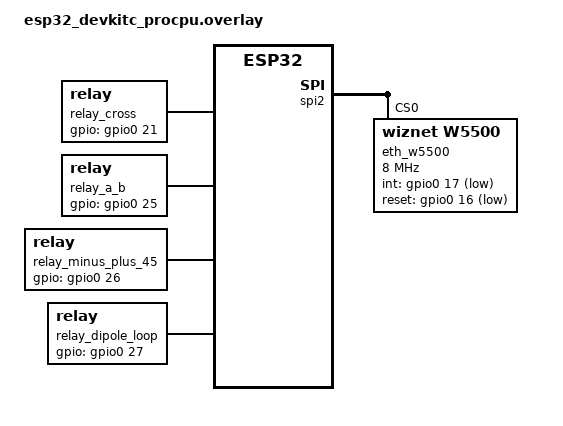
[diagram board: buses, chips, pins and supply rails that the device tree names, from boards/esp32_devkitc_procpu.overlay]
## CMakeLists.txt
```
cmake_minimum_required(VERSION 3.20.0)

find_package(Zephyr)
project(lz1aq_loop_control)

zephyr_linker_sources(SECTIONS sections-rom.ld)
zephyr_linker_section(NAME http_resource_desc_lz1aq_loop_control
                      KVMA RAM_REGION GROUP RODATA_REGION)

set(gen_dir ${ZEPHYR_BINARY_DIR}/include/generated/)

foreach(web_resource
    index.html
    main.js
    bootstrap.min.css
)
    generate_inc_file_for_target(app
        src/www/${web_resource}
        ${gen_dir}/${web_resource}.gz.inc
        --gzip
    )
endforeach()

target_sources(app PRIVATE src/main.c src/ws.c)

target_link_libraries(app PRIVATE zephyr_interface zephyr)
```

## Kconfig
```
# Copyright 2025 NXP
# SPDX-License-Identifier: Apache-2.0

mainmenu "LZ1AQ Loop Controller"

config NET_SAMPLE_NUM_WEBSOCKET_HANDLERS
	int "How many websocket connections to serve at the same time"
	default 3
	help
	  Each websocket connection is served by a thread which needs
	  memory. Only increase the value here if really needed.

config USE_WIFI
	bool "Use WiFi"
	default n
	help
	  Enable the use of Wifi

if USE_WIFI

config WIFI_SAMPLE_SSID
	string "SSID of the target AP"
	help
	  SSID of the access point to connect to in station mode.
	  For example: "TARGET-AP"

config WIFI_SAMPLE_PSK
	string "Pre-shared key for target AP"
	help
	  WPA2 password used to connect to the target AP.
	  For example: "PSK"
endif # USE_WIFI

source "Kconfig.zephyr"
```

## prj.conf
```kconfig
CONFIG_NETWORKING=y
CONFIG_NET_HOSTNAME_ENABLE=y
CONFIG_NET_HOSTNAME="loop-control"
CONFIG_HTTP_SERVER=y
CONFIG_GPIO=y
CONFIG_POSIX_API=y
CONFIG_INIT_STACKS=y

# Network buffers
CONFIG_NET_PKT_RX_COUNT=16
CONFIG_NET_PKT_TX_COUNT=16
CONFIG_NET_BUF_RX_COUNT=128
CONFIG_NET_BUF_TX_COUNT=128
CONFIG_NET_CONTEXT_NET_PKT_POOL=y

CONFIG_NET_DHCPV4=y
CONFIG_NET_IPV4=y
CONFIG_NET_IPV6=n
CONFIG_NET_TCP=y
CONFIG_NET_LOG=y
CONFIG_NET_SOCKETS=y
CONFIG_NET_MAX_CONTEXTS=32
CONFIG_NET_MAX_CONN=32

CONFIG_WIFI=y
CONFIG_NET_IF_MAX_IPV4_COUNT=2
CONFIG_NET_DHCPV4_OPTION_CALLBACKS=y

# Network debug config
CONFIG_NET_SOCKETS_LOG_LEVEL_DBG=y
CONFIG_NET_HTTP_LOG_LEVEL_DBG=y


# CONFIG_NET_SAMPLE_NUM_WEBSOCKET_HANDLERS=5
```

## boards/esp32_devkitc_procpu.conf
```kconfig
CONFIG_SPI=y
CONFIG_ETH_DRIVER=y
CONFIG_ETH_W5500=y
#CONFIG_ETH_W5500_TIMEOUT=1000
CONFIG_NET_L2_ETHERNET=y
```

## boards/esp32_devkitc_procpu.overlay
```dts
&spi2 {
    status = "okay";
    eth_w5500: eth_w5500@0 {
        compatible = "wiznet,w5500";
        status = "okay";
        reg = <0x0>;
        spi-max-frequency = <8000000>;
        int-gpios = <&gpio0 17 GPIO_ACTIVE_LOW>;
        reset-gpios = <&gpio0 16 GPIO_ACTIVE_LOW>;
        /* *************************** */
        /* Write here your MAC address */
        /* *************************** */
        local-mac-address = [00 08 DC 01 02 03];
    };
};

/ {
    relay_cross: relay_cross {
        compatible = "relay";
        gpios = <&gpio0 21 GPIO_ACTIVE_HIGH>;
    };

    relay_a_b: relay_a_b {
        compatible = "relay";
        gpios = <&gpio0 25 GPIO_ACTIVE_HIGH>;
    };

    relay_minus_plus_45: relay_minus_plus_45 {
        compatible = "relay";
        gpios = <&gpio0 26 GPIO_ACTIVE_HIGH>;
    };

    relay_dipole_loop: relay_dipole_loop {
        compatible = "relay";
        gpios = <&gpio0 27 GPIO_ACTIVE_HIGH>;
    };
};
```

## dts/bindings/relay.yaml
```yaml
# Copyright (c) 2023 Libre Solar Technologies GmbH
# SPDX-License-Identifier: Apache-2.0

description: GPIO pin to switch a relay

compatible: "relay"

properties:
  gpios:
    type: phandle-array
    required: true
    description: |
      The GPIO connected to the input of a relay
```

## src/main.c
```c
#include <zephyr/kernel.h>
#include <zephyr/logging/log.h>
#include <zephyr/net/http/service.h>

#include <zephyr/kernel.h>
#include <zephyr/linker/sections.h>
#include <errno.h>
#include <stdio.h>

#include <zephyr/net/net_if.h>
#include <zephyr/net/net_core.h>
#include <zephyr/net/net_context.h>
#include <zephyr/net/net_mgmt.h>
#include <zephyr/devicetree.h>
#include <zephyr/drivers/gpio.h>

LOG_MODULE_REGISTER(MAIN);

#if !DT_NODE_EXISTS(DT_NODELABEL(relay_cross))
#error "Overlay for relay_cross not properly defined."
#endif

#if !DT_NODE_EXISTS(DT_NODELABEL(relay_dipole_loop))
#error "Overlay for relay_dipole_loop not properly defined."
#endif

#if !DT_NODE_EXISTS(DT_NODELABEL(relay_a_b))
#error "Overlay for relay_a_b not properly defined."
#endif

#if !DT_NODE_EXISTS(DT_NODELABEL(relay_minus_plus_45))
#error "Overlay for relay_minus_plus_45 not properly defined."
#endif


static const struct gpio_dt_spec relay_cross =
    GPIO_DT_SPEC_GET_OR(DT_NODELABEL(relay_cross), gpios, {0});

static const struct gpio_dt_spec relay_dipole_loop = 
    GPIO_DT_SPEC_GET_OR(DT_NODELABEL(relay_dipole_loop), gpios, {0});

static const struct gpio_dt_spec relay_a_b = 
    GPIO_DT_SPEC_GET_OR(DT_NODELABEL(relay_a_b), gpios, {0});

static const struct gpio_dt_spec relay_minus_plus_45 = 
    GPIO_DT_SPEC_GET_OR(DT_NODELABEL(relay_minus_plus_45), gpios, {0});

static uint16_t http_service_port = 80;

HTTP_SERVICE_DEFINE(lz1aq_loop_control, "0.0.0.0", &http_service_port, 1, 10, NULL, NULL, NULL);

static const uint8_t index_html_gz[] = {
    #include "index.html.gz.inc"
};

struct http_resource_detail_static index_html_gz_resource_detail = {
    .common = {
        .type = HTTP_RESOURCE_TYPE_STATIC,
        .bitmask_of_supported_http_methods = BIT(HTTP_GET),
        .content_encoding = "gzip",
        .content_type = "text/html"
    },
    .static_data = index_html_gz,
    .static_data_len = sizeof(index_html_gz),
};

HTTP_RESOURCE_DEFINE(index_html_gz_resource, lz1aq_loop_control, "/",
                     &index_html_gz_resource_detail);

static const uint8_t main_js_gz[] = {
    #include "main.js.gz.inc"
};

struct http_resource_detail_static main_js_gz_resource_detail = {
    .common = {
        .type = HTTP_RESOURCE_TYPE_STATIC,
        .bitmask_of_supported_http_methods = BIT(HTTP_GET),
        .content_encoding = "gzip",
        .content_type = "text/javascript",
    },
    .static_data = main_js_gz,
    .static_data_len = sizeof(main_js_gz),
};

HTTP_RESOURCE_DEFINE(main_js_gz_resource, lz1aq_loop_control, "/main.js",
                     &main_js_gz_resource_detail);

static const uint8_t bootstrap_min_css_gz[] = {
    #include "bootstrap.min.css.gz.inc"
};

struct http_resource_detail_static bootstrap_min_css_gz_resource_detail = {
    .common = {
        .type = HTTP_RESOURCE_TYPE_STATIC,
        .bitmask_of_supported_http_methods = BIT(HTTP_GET),
        .content_encoding = "gzip",
        .content_type = "text/css",
    },
    .static_data = bootstrap_min_css_gz,
    .static_data_len = sizeof(bootstrap_min_css_gz),
};

HTTP_RESOURCE_DEFINE(bootstrap_min_css_resource, lz1aq_loop_control, "/bootstrap.min.css",
                     &bootstrap_min_css_gz_resource_detail);


static int loop_a_handler(struct http_client_ctx *client, enum http_transaction_status status,
			  const struct http_request_ctx *request_ctx,
			  struct http_response_ctx *response_ctx, void *user_data)
{
	gpio_pin_set_dt(&relay_dipole_loop, 1);
  	gpio_pin_set_dt(&relay_a_b, 0);
	gpio_pin_set_dt(&relay_cross, 0);
	return 0;
}

struct http_resource_detail_dynamic loop_a_handler_resource_detail = {
    .common = {
        .type = HTTP_RESOURCE_TYPE_DYNAMIC,
        .bitmask_of_supported_http_methods =
            BIT(HTTP_GET),
    },
    .cb = loop_a_handler,
    .user_data = NULL,
};

HTTP_RESOURCE_DEFINE(loop_a_handler_resource, lz1aq_loop_control, "/direction/loop_a", &loop_a_handler_resource_detail);

static int loop_b_handler(struct http_client_ctx *client, enum http_transaction_status status,
			  const struct http_request_ctx *request_ctx,
			  struct http_response_ctx *response_ctx, void *user_data)
{
	gpio_pin_set_dt(&relay_dipole_loop, 1);
  	gpio_pin_set_dt(&relay_a_b, 1);
	gpio_pin_set_dt(&relay_cross, 0);
	return 0;
}

struct http_resource_detail_dynamic loop_b_handler_resource_detail = {
    .common = {
        .type = HTTP_RESOURCE_TYPE_DYNAMIC,
        .bitmask_of_supported_http_methods =
            BIT(HTTP_GET),
    },
    .cb = loop_b_handler,
    .user_data = NULL,
};

HTTP_RESOURCE_DEFINE(loop_b_handler_resource, lz1aq_loop_control, "/direction/loop_b", &loop_b_handler_resource_detail);

static int loop_min_45_handler(struct http_client_ctx *client, enum http_transaction_status status,
			  const struct http_request_ctx *request_ctx,
			  struct http_response_ctx *response_ctx, void *user_data)
{
	gpio_pin_set_dt(&relay_dipole_loop, 1);
	gpio_pin_set_dt(&relay_cross, 1);
    	gpio_pin_set_dt(&relay_minus_plus_45, 0);
	return 0;
}

struct http_resource_detail_dynamic min_45_handler_resource_detail = {
    .common = {
        .type = HTTP_RESOURCE_TYPE_DYNAMIC,
        .bitmask_of_supported_http_methods =
            BIT(HTTP_GET),
    },
    .cb = loop_min_45_handler,
    .user_data = NULL,
};

HTTP_RESOURCE_DEFINE(min_45_handler_resource, lz1aq_loop_control, "/direction/min_45", &min_45_handler_resource_detail);

static int loop_plus_45_handler(struct http_client_ctx *client, enum http_transaction_status status,
			  const struct http_request_ctx *request_ctx,
			  struct http_response_ctx *response_ctx, void *user_data)
{
	gpio_pin_set_dt(&relay_dipole_loop, 1);
	gpio_pin_set_dt(&relay_cross, 1);
    	gpio_pin_set_dt(&relay_minus_plus_45, 1);
	return 0;
}

struct http_resource_detail_dynamic plus_45_handler_resource_detail = {
    .common = {
        .type = HTTP_RESOURCE_TYPE_DYNAMIC,
        .bitmask_of_supported_http_methods =
            BIT(HTTP_GET),
    },
    .cb = loop_plus_45_handler,
    .user_data = NULL,
};

HTTP_RESOURCE_DEFINE(plus_45_handler_resource, lz1aq_loop_control, "/direction/plus_45", &plus_45_handler_resource_detail);

static int vertical_handler(struct http_client_ctx *client, enum http_transaction_status status,
			  const struct http_request_ctx *request_ctx,
			  struct http_response_ctx *response_ctx, void *user_data)
{
	gpio_pin_set_dt(&relay_dipole_loop, 0);
	gpio_pin_set_dt(&relay_cross, 0);
    	gpio_pin_set_dt(&relay_minus_plus_45, 0);
  	gpio_pin_set_dt(&relay_a_b, 0);
	return 0;
}

struct http_resource_detail_dynamic vertical_handler_resource_detail = {
    .common = {
        .type = HTTP_RESOURCE_TYPE_DYNAMIC,
        .bitmask_of_supported_http_methods =
            BIT(HTTP_GET),
    },
    .cb = vertical_handler,
    .user_data = NULL,
};

HTTP_RESOURCE_DEFINE(vertical_handler_resource, lz1aq_loop_control, "/direction/vertical", &vertical_handler_resource_detail);

enum loop_mode {
    MODE_NONE = 0,
    MODE_LOOP_A,
    MODE_LOOP_B,
    MODE_CROSSED,
    MODE_VERTICAL,
};

/* --- Helpers to convert to/from strings --- */
static const char* mode_to_cmd(enum loop_mode m)
{
    switch (m) {
        case MODE_LOOP_A:   return "loop_a";
        case MODE_LOOP_B:   return "loop_a";
        case MODE_CROSSED:  return "crossed";
        case MODE_VERTICAL: return "vertical";
        default:            return "";
    }
}

static enum loop_mode cmd_to_mode(const char *s)
{
    if (strcmp(s, "loop_a") == 0) return MODE_LOOP_A;
    if (strcmp(s, "loop_b") == 0) return MODE_LOOP_B;
    if (strcmp(s, "crossed") == 0) return MODE_CROSSED;
    if (strcmp(s, "vertical") == 0) return MODE_VERTICAL;
    return MODE_NONE;
}

#define DHCP_OPTION_NTP (42)

static uint8_t ntp_server[4];

static struct net_mgmt_event_callback mgmt_cb;

static struct net_dhcpv4_option_callback dhcp_cb;

static void start_dhcpv4_client(struct net_if *iface, void *user_data)
{
    ARG_UNUSED(user_data);

    LOG_INF("Start on %s: index=%d", net_if_get_device(iface)->name,
        net_if_get_by_iface(iface));
    net_dhcpv4_start(iface);
}

static void handler(struct net_mgmt_event_callback *cb,
		    uint64_t mgmt_event,
		    struct net_if *iface)
{
    int i = 0;

    if (mgmt_event != NET_EVENT_IPV4_ADDR_ADD) {
        return;
    }

    for (i = 0; i < NET_IF_MAX_IPV4_ADDR; i++) {
        char buf[NET_IPV4_ADDR_LEN];

        if (iface->config.ip.ipv4->unicast[i].ipv4.addr_type !=
                            NET_ADDR_DHCP) {
            continue;
        }

        LOG_INF("   Address[%d]: %s", net_if_get_by_iface(iface),
            net_addr_ntop(NET_AF_INET,
                &iface->config.ip.ipv4->unicast[i].ipv4.address.in_addr,
                            buf, sizeof(buf)));
        LOG_INF("    Subnet[%d]: %s", net_if_get_by_iface(iface),
            net_addr_ntop(NET_AF_INET,
                        &iface->config.ip.ipv4->unicast[i].netmask,
                        buf, sizeof(buf)));
        LOG_INF("    Router[%d]: %s", net_if_get_by_iface(iface),
            net_addr_ntop(NET_AF_INET,
                            &iface->config.ip.ipv4->gw,
                            buf, sizeof(buf)));
        LOG_INF("Lease time[%d]: %u seconds", net_if_get_by_iface(iface),
            iface->config.dhcpv4.lease_time);
	}
}

static void option_handler(struct net_dhcpv4_option_callback *cb,
        size_t length,
        enum net_dhcpv4_msg_type msg_type,
        struct net_if *iface)
{
    char buf[NET_IPV4_ADDR_LEN];

    LOG_INF("DHCP Option %d: %s", cb->option,
        net_addr_ntop(NET_AF_INET, cb->data, buf, sizeof(buf)));
}

#define NET_EVENT_WIFI_MASK (NET_EVENT_WIFI_CONNECT_RESULT | NET_EVENT_WIFI_DISCONNECT_RESULT)

int main()
{
    LOG_INF("Startup LZ1AQ Loop Control");

    net_mgmt_init_event_callback(&mgmt_cb, handler, NET_EVENT_IPV4_ADDR_ADD);
    net_mgmt_add_event_callback(&mgmt_cb);

    net_dhcpv4_init_option_callback(&dhcp_cb, option_handler, DHCP_OPTION_NTP, ntp_server,
        sizeof(ntp_server));

    net_dhcpv4_add_option_callback(&dhcp_cb);

    net_if_foreach(start_dhcpv4_client, NULL);

    if (!gpio_is_ready_dt(&relay_cross)) {
        LOG_INF("The relay_cross switch pin GPIO port is not ready");
        return 0;
    }

    if(!gpio_is_ready_dt(&relay_dipole_loop)) {
        LOG_INF("The relay_dipole_loop switch pin GPIO port is not ready");
        return 0;
    }

    if(!gpio_is_ready_dt(&relay_a_b)) {
        LOG_INF("The relay_a_b switch pin GPIO port is not ready");
        return 0;
    }

    if(!gpio_is_ready_dt(&relay_minus_plus_45)) {
        LOG_INF("The relay_minus_plus_45 switch pin GPIO port is not ready");
        return 0;
    }

    gpio_pin_configure_dt(&relay_cross, GPIO_OUTPUT_INACTIVE);
    gpio_pin_configure_dt(&relay_dipole_loop, GPIO_OUTPUT_INACTIVE);
    gpio_pin_configure_dt(&relay_a_b, GPIO_OUTPUT_INACTIVE);
    gpio_pin_configure_dt(&relay_minus_plus_45, GPIO_OUTPUT_INACTIVE);

    http_server_start();

    // LOG_INF("Turning on relays");

    // k_sleep(K_MSEC(2000));

    // gpio_pin_set_dt(&relay_cross, 1);

    // k_sleep(K_MSEC(2000));

    // gpio_pin_set_dt(&relay_a_b, 1);

    // k_sleep(K_MSEC(2000));

    // gpio_pin_set_dt(&relay_minus_plus_45, 1);

    // k_sleep(K_MSEC(2000));

    // gpio_pin_set_dt(&relay_dipole_loop, 1);

    // LOG_INF("Sleep 5 seconds");

    // k_sleep(K_MSEC(5000));

    // LOG_INF("Turning off relays");

    // gpio_pin_set_dt(&relay_dipole_loop, 0);
    // gpio_pin_set_dt(&relay_cross, 0);
    // gpio_pin_set_dt(&relay_a_b, 0);
    // gpio_pin_set_dt(&relay_minus_plus_45, 0);

    // LOG_INF("Turned of relays");

    return 0;
}
```

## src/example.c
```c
/*
 * Minimal WebSocket server that consumes text commands from the browser
 * and returns authoritative state as JSON.
 */
#include <zephyr/kernel.h>
#include <zephyr/logging/log.h>
LOG_MODULE_REGISTER(loop_ws, LOG_LEVEL_INF);

#include <zephyr/net/socket.h>
#include <zephyr/net/websocket.h>
#include <zephyr/net/http/service.h>
#include <zephyr/net/http/server.h>
#include <string.h>
#include <stdio.h>
#include <stdlib.h>
#include <ctype.h>

/* --- Service definition (listen on 0.0.0.0:80) --- */
static uint16_t http_service_port = 80;
/* name "my_service" must match the linker section we added in sections-rom.ld */
HTTP_SERVICE_DEFINE(my_service, "0.0.0.0", &http_service_port,
                    /* max IPv4 + IPv6 listeners */ 1,
                    /* max accepted clients per listener */ 10,
                    /* no per-service fallback resource */ NULL,
                    /* no per-service config */ NULL,
                    /* default socket create/config */ NULL);

/* --- Application state --- */

enum loop_mode {
    MODE_NONE = 0,
    MODE_LOOP_A,
    MODE_LOOP_B,
    MODE_CROSSED,
    MODE_VERTICAL,
};

struct app_state {
    enum loop_mode mode;    /* one of A/B/CROSSED/VERTICAL */
    int angle;              /* 0, -45, or +45 */
};

static struct app_state g_state = {
    .mode = MODE_LOOP_A,
    .angle = 0,
};

/* --- Connected clients (very small fixed-size list for demo) --- */

#define MAX_CLIENTS 4
static int g_clients[MAX_CLIENTS] = { -1, -1, -1, -1 };
static struct k_mutex g_clients_lock;

static void clients_add(int ws)
{
    k_mutex_lock(&g_clients_lock, K_FOREVER);
    for (int i = 0; i < MAX_CLIENTS; i++) {
        if (g_clients[i] < 0) { g_clients[i] = ws; break; }
    }
    k_mutex_unlock(&g_clients_lock);
}

static void clients_remove(int ws)
{
    k_mutex_lock(&g_clients_lock, K_FOREVER);
    for (int i = 0; i < MAX_CLIENTS; i++) {
        if (g_clients[i] == ws) { g_clients[i] = -1; break; }
    }
    k_mutex_unlock(&g_clients_lock);
}

/* --- Helpers to convert to/from strings --- */

static const char* mode_to_cmd(enum loop_mode m)
{
    switch (m) {
    case MODE_LOOP_A:   return "LoopA";
    case MODE_LOOP_B:   return "LoopB";
    case MODE_CROSSED:  return "Crossed";
    case MODE_VERTICAL: return "Vertical";
    default:            return "";
    }
}

static enum loop_mode cmd_to_mode(const char *s)
{
    if (strcmp(s, "LoopA") == 0) return MODE_LOOP_A;
    if (strcmp(s, "LoopB") == 0) return MODE_LOOP_B;
    if (strcmp(s, "Crossed") == 0) return MODE_CROSSED;
    if (strcmp(s, "Vertical") == 0) return MODE_VERTICAL;
    return MODE_NONE;
}

/* --- JSON state builder --- */
/* Example: {"type":"state","active":["LoopA","+45"]} */
static int build_state_json(char *out, size_t out_sz)
{
    const char *mode_str = mode_to_cmd(g_state.mode);
    char angle_buf[5] = {0};
    if (g_state.angle > 0) {
        strcpy(angle_buf, "+45");
    } else if (g_state.angle < 0) {
        strcpy(angle_buf, "-45");
    } else {
        angle_buf[0] = '\0';
    }

    if (angle_buf[0]) {
        return snprintk(out, out_sz,
            "{ \"type\":\"state\", \"active\":[\"%s\",\"%s\"] }",
            mode_str, angle_buf);
    } else {
        return snprintk(out, out_sz,
            "{ \"type\":\"state\", \"active\":[\"%s\"] }", mode_str);
    }
}

/* --- State update + broadcast --- */

static void broadcast_state(void)
{
    char json[128];
    int len = build_state_json(json, sizeof(json));
    if (len <= 0) return;

    /* Server frames: opcode TEXT; server must NOT mask (mask=false). */
    k_mutex_lock(&g_clients_lock, K_FOREVER);
    for (int i = 0; i < MAX_CLIENTS; i++) {
        int ws = g_clients[i];
        if (ws < 0) continue;
        int ret = websocket_send_msg(ws, (const uint8_t *)json, len,
                                     WEBSOCKET_OPCODE_DATA_TEXT,
                                     false /*mask*/, true /*final*/, K_NO_WAIT);
        if (ret < 0) {
            LOG_WRN("send state to ws=%d failed (%d)", ws, ret);
        }
    }
    k_mutex_unlock(&g_clients_lock);
}

/* Apply a single command from the browser */
static void apply_command(const char *cmd)
{
    /* Trim whitespace */
    while (isspace((unsigned char)*cmd)) cmd++;

    if (!*cmd) return;

    if (strcmp(cmd, "+45") == 0) {
        g_state.angle = +45;
    } else if (strcmp(cmd, "-45") == 0) {
        g_state.angle = -45;
    } else {
        enum loop_mode m = cmd_to_mode(cmd);
        if (m != MODE_NONE) {
            g_state.mode = m;
        } else if (strcmp(cmd, "0") == 0 || strcmp(cmd, "Reset") == 0) {
            g_state.angle = 0;
        } else {
            LOG_WRN("Unknown command: '%s'", cmd);
            return;
        }
    }

    /* After every accepted command, broadcast full state */
    broadcast_state();
}

/* --- Per-connection handler (runs in the HTTP server's callback context).
 * For production, you can spawn a dedicated thread per connection if desired.
 */

#define WS_TEMP_BUF 512

static int ws_handler_loop(int ws)
{
    uint8_t buf[WS_TEMP_BUF];

    for (;;) {
        uint32_t msg_type = 0;
        uint64_t remaining = 0;

        /* Receive one fragment (or full message if small); blocks */
        int rc = websocket_recv_msg(ws, buf, sizeof(buf) - 1,
                                    &msg_type, &remaining, K_FOREVER);
        if (rc <= 0) {
            LOG_INF("ws=%d closed or error (%d)", ws, rc);
            return rc;
        }

        /* TEXT frames carry our commands; CLOSE ends connection */
        if (msg_type & WEBSOCKET_FLAG_CLOSE) {
            LOG_INF("ws=%d close frame", ws);
            return 0;
        }

        if (msg_type & WEBSOCKET_FLAG_TEXT) {
            buf[rc] = '\0';
            apply_command((const char *)buf);

            /* Drain any continuation frames of this message (we do not expect
             * fragmentation from the browser for these small commands, but be
             * robust anyway).
             */
            while (remaining > 0) {
                int rd = websocket_recv_msg(ws, buf, MIN(remaining, sizeof(buf)),
                                            &msg_type, &remaining, K_FOREVER);
                if (rd <= 0) break;
            }
        }
    }
}

/* --- WebSocket resource callback: called when HTTP upgrade happens --- */

static uint8_t ws_recv_buffer[1024];  /* scratch buffer used by the server */

static int ws_setup(int sock, struct http_request_ctx *request_ctx, void *user_data)
{
    ARG_UNUSED(request_ctx);
    ARG_UNUSED(user_data);

    /* Register the just-upgraded TCP socket as a WebSocket so we can use
     * websocket_* helpers to recv/send frames.
     */
    int ws = websocket_register(sock, ws_recv_buffer, sizeof(ws_recv_buffer));
    if (ws < 0) {
        LOG_ERR("websocket_register failed: %d", ws);
        zsock_close(sock);
        return ws;
    }

    LOG_INF("WebSocket connected (fd=%d)", ws);
    clients_add(ws);

    /* Send initial state immediately after connect */
    broadcast_state();

    /* Run the receive loop (blocking). Return when client disconnects. */
    int rc = ws_handler_loop(ws);

    clients_remove(ws);
    (void)websocket_unregister(ws);
    (void)zsock_close(ws);
    LOG_INF("WebSocket disconnected (fd=%d, rc=%d)", ws, rc);
    return rc;
}

/* Declare the WS resource at path "/ws" under our service */
static struct http_resource_detail_websocket ws_resource_detail = {
    .common = {
        .type = HTTP_RESOURCE_TYPE_WEBSOCKET,
        /* Upgrade starts from HTTP GET */
        .bitmask_of_supported_http_methods = BIT(HTTP_GET),
    },
    .cb = ws_setup,
    .data_buffer = ws_recv_buffer,
    .data_buffer_len = sizeof(ws_recv_buffer),
    .user_data = NULL,
};

/* Make it visible to the HTTP server */
HTTP_RESOURCE_DEFINE(ws_resource, my_service, "/ws", &ws_resource_detail);

/* --- App entry --- */
void main(void)
{
    k_mutex_init(&g_clients_lock);
    LOG_INF("Loop WebSocket server ready at ws://<device-ip>/ws");
}
```

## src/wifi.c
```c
#include "wifi.h"
#include <zephyr/net/wifi_mgmt.h>
#include <zephyr/logging/log.h>
#include <zephyr/kernel.h>

LOG_MODULE_REGISTER(wifi);

static struct net_if *wifi_interface;
static struct wifi_connect_req_params config;

void connect_wifi()
{
    if (!wifi_interface) {
        LOG_INF("STA: interface no initialized");
        return;
    }

    config.ssid = (const uint8_t *)CONFIG_WIFI_SAMPLE_SSID;
    config.ssid_length = sizeof(CONFIG_WIFI_SAMPLE_SSID) - 1;
    config.psk = (const uint8_t *)CONFIG_WIFI_SAMPLE_PSK;
    config.psk_length = sizeof(CONFIG_WIFI_SAMPLE_PSK) - 1;
    config.security = WIFI_SECURITY_TYPE_PSK;
    config.channel = WIFI_CHANNEL_ANY;
    config.band = WIFI_FREQ_BAND_2_4_GHZ;

    LOG_INF("Connecting to SSID: %s\n", config.ssid);

    int ret = net_mgmt(NET_REQUEST_WIFI_CONNECT, wifi_interface, &config,
                sizeof(struct wifi_connect_req_params));
    if (ret) {
        LOG_ERR("Unable to Connect to (%s)", CONFIG_WIFI_SAMPLE_SSID);
    }
}

//BUILD_ASSERT(sizeof(CONFIG_WIFI_SAMPLE_SSID) > 1,
//	     "CONFIG_WIFI_SAMPLE_SSID is empty. Please set it in conf file.");
	     
/*static void wifi_event_handler(struct net_mgmt_event_callback *cb, uint64_t mgmt_event,
			       struct net_if *iface)
{
	switch (mgmt_event) {
	case NET_EVENT_WIFI_CONNECT_RESULT: {
		LOG_INF("Connected to %s", CONFIG_WIFI_SAMPLE_SSID);
		break;
	}
	case NET_EVENT_WIFI_DISCONNECT_RESULT: {
		LOG_INF("Disconnected from %s", CONFIG_WIFI_SAMPLE_SSID);
		break;
	}
	default:
		break;
	}
}*/

//net_mgmt_init_event_callback(&cb, wifi_event_handler, NET_EVENT_WIFI_MASK);
//net_mgmt_add_event_callback(&cb);

//net_mgmt_init_event_callback(&iface_callback, callback_handler,
//                             EVENT_IFACE_SET);
//net_mgmt_init_event_callback(&ipv4_callback, callback_handler,
//                             EVENT_IPV4_SET);
//net_mgmt_add_event_callback(&iface_callback);
//net_mgmt_add_event_callback(&ipv4_callback);

/* Get STA interface */
//sta_iface = net_if_get_wifi_sta();

// connect_wifi();
```

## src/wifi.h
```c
#ifndef _wifi_h
#define _wifi_h

void connect_wifi();

#endif
```

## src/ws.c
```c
/*
 * Copyright (c) 2024, Nordic Semiconductor
 *
 * SPDX-License-Identifier: Apache-2.0
 */

#include <stdio.h>

#include <zephyr/posix/sys/socket.h>
#include <zephyr/posix/poll.h>

#include <zephyr/kernel.h>
#include <zephyr/net/tls_credentials.h>
#include <zephyr/net/http/server.h>
#include <zephyr/net/http/service.h>
#include <zephyr/net/net_ip.h>
#include <zephyr/net/socket.h>
#include <zephyr/net/websocket.h>
#include <zephyr/net/net_mgmt.h>
#include <zephyr/net/net_stats.h>
#include <zephyr/init.h>

#include <zephyr/logging/log.h>
// LOG_MODULE_DECLARE(net_http_server_sample, LOG_LEVEL_DBG);

LOG_MODULE_REGISTER(ws, LOG_LEVEL_DBG);

#if defined(CONFIG_NET_SOCKETS_SOCKOPT_TLS) || defined(CONFIG_COVERAGE_GCOV)
#define STACK_SIZE 4096
#else
#define STACK_SIZE 2048
#endif

#if defined(CONFIG_NET_TC_THREAD_COOPERATIVE)
#define THREAD_PRIORITY K_PRIO_COOP(CONFIG_NUM_COOP_PRIORITIES - 1)
#else
#define THREAD_PRIORITY K_PRIO_PREEMPT(8)
#endif

#if defined(CONFIG_USERSPACE)
#include <zephyr/app_memory/app_memdomain.h>
extern struct k_mem_partition app_partition;
extern struct k_mem_domain app_domain;
#define APP_BMEM K_APP_BMEM(app_partition)
#define APP_DMEM K_APP_DMEM(app_partition)
#else
#define APP_BMEM
#define APP_DMEM
#endif

#define MAX_CLIENT_QUEUE CONFIG_NET_SAMPLE_NUM_WEBSOCKET_HANDLERS
#define RECV_BUFFER_SIZE 1280


K_THREAD_STACK_ARRAY_DEFINE(ws_handler_stack,
			    CONFIG_NET_SAMPLE_NUM_WEBSOCKET_HANDLERS,
			    STACK_SIZE);
static struct k_thread ws_handler_thread[CONFIG_NET_SAMPLE_NUM_WEBSOCKET_HANDLERS];
static APP_BMEM bool ws_handler_in_use[CONFIG_NET_SAMPLE_NUM_WEBSOCKET_HANDLERS];

static struct data {
	int sock;
	uint32_t counter;
	uint32_t bytes_received;
	struct pollfd fds[1];
	char recv_buffer[RECV_BUFFER_SIZE];
} config[CONFIG_NET_SAMPLE_NUM_WEBSOCKET_HANDLERS] = {
	[0 ... (CONFIG_NET_SAMPLE_NUM_WEBSOCKET_HANDLERS - 1)] = {
		.sock = -1,
		.fds[0].fd = -1,
	}
};

static int get_free_echo_slot(struct data *cfg)
{
	for (int i = 0; i < CONFIG_NET_SAMPLE_NUM_WEBSOCKET_HANDLERS; i++) {
		if (cfg[i].sock < 0) {
			return i;
		}
	}

	return -1;
}

static ssize_t sendall(int sock, const void *buf, size_t len)
{
	while (len) {
		ssize_t out_len = send(sock, buf, len, 0);

		if (out_len < 0) {
			return out_len;
		}
		buf = (const char *)buf + out_len;
		len -= out_len;
	}

	return 0;
}

static void ws_echo_handler(void *ptr1, void *ptr2, void *ptr3)
{
	int slot = POINTER_TO_INT(ptr1);
	struct data *cfg = ptr2;
	bool *in_use = ptr3;
	int offset = 0;
	int received;
	int client;
	int ret;

	client = cfg->sock;

	cfg->fds[0].fd = client;
	cfg->fds[0].events = POLLIN;

	/* In this example, we start to receive data from the websocket
	 * and send it back to the client. Note that we could either use
	 * the BSD socket interface if we do not care about Websocket
	 * specific packets, or we could use the websocket_{send/recv}_msg()
	 * function to send websocket specific data.
	 */
	while (true) {
		if (poll(cfg->fds, 1, -1) < 0) {
			LOG_ERR("Error in poll:%d", errno);
			continue;
		}

		if (cfg->fds[0].fd < 0) {
			continue;
		}

		if (cfg->fds[0].revents & POLLHUP) {
			LOG_DBG("Client #%d has disconnected", client);
			break;
		}

		received = recv(client,
				cfg->recv_buffer + offset,
				sizeof(cfg->recv_buffer) - offset,
				0);

		if (received == 0) {
			/* Connection closed */
			LOG_INF("[%d] Connection closed", slot);
			break;
		} else if (received < 0) {
			/* Socket error */
			LOG_ERR("[%d] Connection error %d", slot, errno);
			break;
		}

		cfg->bytes_received += received;
		offset += received;

#if !defined(CONFIG_NET_SOCKETS_SOCKOPT_TLS)
		/* To prevent fragmentation of the response, reply only if
		 * buffer is full or there is no more data to read
		 */
		if (offset == sizeof(cfg->recv_buffer) ||
		    (recv(client, cfg->recv_buffer + offset,
			  sizeof(cfg->recv_buffer) - offset,
			  MSG_PEEK | MSG_DONTWAIT) < 0 &&
		     (errno == EAGAIN || errno == EWOULDBLOCK))) {
#endif
			ret = sendall(client, cfg->recv_buffer, offset);
			if (ret < 0) {
				LOG_ERR("[%d] Failed to send data, closing socket",
					slot);
				break;
			}

			LOG_DBG("[%d] Received and replied with %d bytes",
				slot, offset);

			if (++cfg->counter % 1000 == 0U) {
				LOG_INF("[%d] Sent %u packets", slot, cfg->counter);
			}

			offset = 0;
#if !defined(CONFIG_NET_SOCKETS_SOCKOPT_TLS)
		}
#endif
	}

	*in_use = false;

	(void)websocket_unregister(client);

	cfg->sock = -1;
}

int ws_echo_setup(int ws_socket, struct http_request_ctx *request_ctx, void *user_data)
{
	int slot;

	slot = get_free_echo_slot(config);
	if (slot < 0) {
		LOG_ERR("Cannot accept more connections");
		/* The caller will close the connection in this case */
		return -ENOENT;
	}

	config[slot].sock = ws_socket;

	LOG_INF("[%d] Accepted a Websocket connection", slot);

	k_thread_create(&ws_handler_thread[slot],
			ws_handler_stack[slot],
			K_THREAD_STACK_SIZEOF(ws_handler_stack[slot]),
			ws_echo_handler,
			INT_TO_POINTER(slot), &config[slot], &ws_handler_in_use[slot],
			THREAD_PRIORITY,
			IS_ENABLED(CONFIG_USERSPACE) ? K_USER |
						       K_INHERIT_PERMS : 0,
			K_NO_WAIT);

	if (IS_ENABLED(CONFIG_THREAD_NAME)) {
#define MAX_NAME_LEN (sizeof("ws[xxxxxxxxxx]"))
		char name[MAX_NAME_LEN];

		snprintk(name, sizeof(name), "ws[%d]", slot);
		k_thread_name_set(&ws_handler_thread[slot], name);
	}

	return 0;
}
```

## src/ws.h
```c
/*
 * Copyright (c) 2024, Witekio
 *
 * SPDX-License-Identifier: Apache-2.0
 */

#include <zephyr/net/http/server.h>

/**
 * @brief Setup websocket for echoing data back to client
 *
 * @param ws_socket Socket file descriptor associated with websocket
 * @param request_ctx Request context associated with websocket HTTP upgrade request
 * @param user_data User data pointer
 *
 * @return 0 on success
 */
int ws_echo_setup(int ws_socket, struct http_request_ctx *request_ctx, void *user_data);
```
